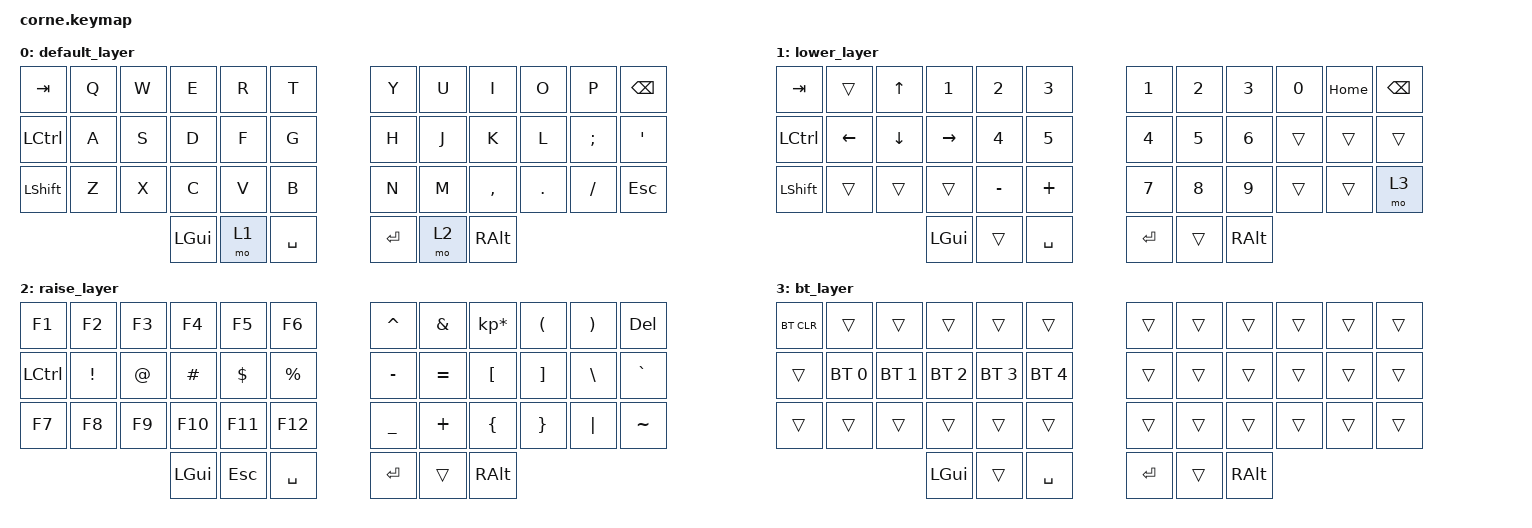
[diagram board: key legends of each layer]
/*
 * Copyright (c) 2020 The ZMK Contributors
 *
 * SPDX-License-Identifier: MIT
 */

#include <behaviors.dtsi>
#include <dt-bindings/zmk/keys.h>
#include <dt-bindings/zmk/bt.h>

/ {
        keymap {
                compatible = "zmk,keymap";

                default_layer {
// -----------------------------------------------------------------------------------------
// |  TAB |  Q  |  W  |  E  |  R  |  T  |   |  Y  |  U   |  I  |  O  |  P  | BKSP |
// | CTRL |  A  |  S  |  D  |  F  |  G  |   |  H  |  J   |  K  |  L  |  ;  |  '   |
// | SHFT |  Z  |  X  |  C  |  V  |  B  |   |  N  |  M   |  ,  |  .  |  /  | ESC  |
//                    | GUI | LWR | SPC |   | ENT | RSE  | ALT |
                        bindings = <
   &kp TAB   &kp Q &kp W &kp E &kp R &kp T   &kp Y &kp U  &kp I     &kp O   &kp P    &kp BSPC
   &kp LCTRL &kp A &kp S &kp D &kp F &kp G   &kp H &kp J  &kp K     &kp L   &kp SEMI &kp SQT
   &kp LSHFT &kp Z &kp X &kp C &kp V &kp B   &kp N &kp M  &kp COMMA &kp DOT &kp FSLH &kp ESC
                  &kp LGUI &mo 1 &kp SPACE   &kp RET &mo 2 &kp RALT
                        >;
                };
                lower_layer {
// -----------------------------------------------------------------------------------------
// |  TAB |     |  UP |  1  |  2  |  3  |   |  1  |  2  |  3  |  0  |HOME | BKSP |
// | CTRL | LFT | DWN | RGT |  4  |  5  |   |  4  |  5  |  6  |     |     |      |
// | SHFT |     |     |     |  -  |  +  |   |  7  |  8  |  9  |     |     | btmap|
//                    | GUI |     | SPC |   | ENT |     | ALT |
                        bindings = <
   &kp TAB    &trans       &kp UP       &kp N1       &kp N2       &kp N3                &kp N1   &kp N2   &kp N3   &kp N0    &kp HOME  &kp BSPC
   &kp LCTRL  &kp LEFT     &kp DOWN     &kp RIGHT    &kp N4       &kp N5                &kp N4   &kp N5   &kp N6   &trans    &trans    &trans
   &kp LSHFT  &trans       &trans       &trans       &kp MINUS    &kp PLUS              &kp N7   &kp N8   &kp N9   &trans    &trans    &mo 3
                          	        &kp LGUI     &trans       &kp SPACE             &kp RET  &trans   &kp RALT
                        >;
                };

                raise_layer {
// -----------------------------------------------------------------------------------------
// |  F1  | F2  | F3  | F4  | F5  |  F6 |   |  ^  |  &  |  *  |  (  |  )  | DEL  |
// | CTRL |  !  |  @  |  #  |  $  |  %  |   |  -  |  =  |  [  |  ]  |  \  |  `   |
// |  F7  | F8  | F9  | F10 | F11 | F12 |   |  _  |  +  |  {  |  }  | "|" |  ~   |
//                    | GUI | ESC | SPC |   | ENT |     | ALT |
                        bindings = <
   &kp  F1   &kp F2   &kp F3 &kp F4   &kp F5   &kp F6           &kp CARET &kp AMPS  &kp KP_MULTIPLY &kp LPAR &kp RPAR &kp DEL
   &kp LCTRL &kp EXCL &kp AT &kp HASH &kp DLLR &kp PRCNT        &kp MINUS &kp EQUAL &kp LBKT        &kp RBKT &kp BSLH &kp GRAVE
   &kp F7    &kp F8   &kp F9 &kp F10  &kp F11  &kp F12          &kp UNDER &kp PLUS  &kp LBRC        &kp RBRC &kp PIPE &kp TILDE
                    	     &kp LGUI &kp ESC  &kp SPACE        &kp RET   &trans    &kp RALT
                        >;
                };
                bt_layer {
// -----------------------------------------------------------------------------------------
// | BTCLR |     |     |     |     |     |   | BLON|BLOFF| BL+ | BL- |     |      |
// |       | BT1 | BT2 | BT3 | BT4 | BT5 |   | GLON|GLOFF| GL+ | GL- |     |      |
// |       |     |     |     |     |     |   |     |     |     |     |     |      |
//                     | GUI |     | SPC |   | ENT |     | ALT |
                        bindings = <
   &bt BT_CLR &trans       &trans       &trans       &trans       &trans                &trans          &trans           &trans           &trans           &trans &trans
   &trans     &bt BT_SEL 0 &bt BT_SEL 1 &bt BT_SEL 2 &bt BT_SEL 3 &bt BT_SEL 4          &trans          &trans           &trans           &trans           &trans &trans
   &trans     &trans       &trans       &trans       &trans       &trans                &trans          &trans           &trans           &trans           &trans &trans
                          	        &kp LGUI     &trans       &kp SPACE             &kp RET         &trans           &kp RALT
                        >;
                };
        };
};
